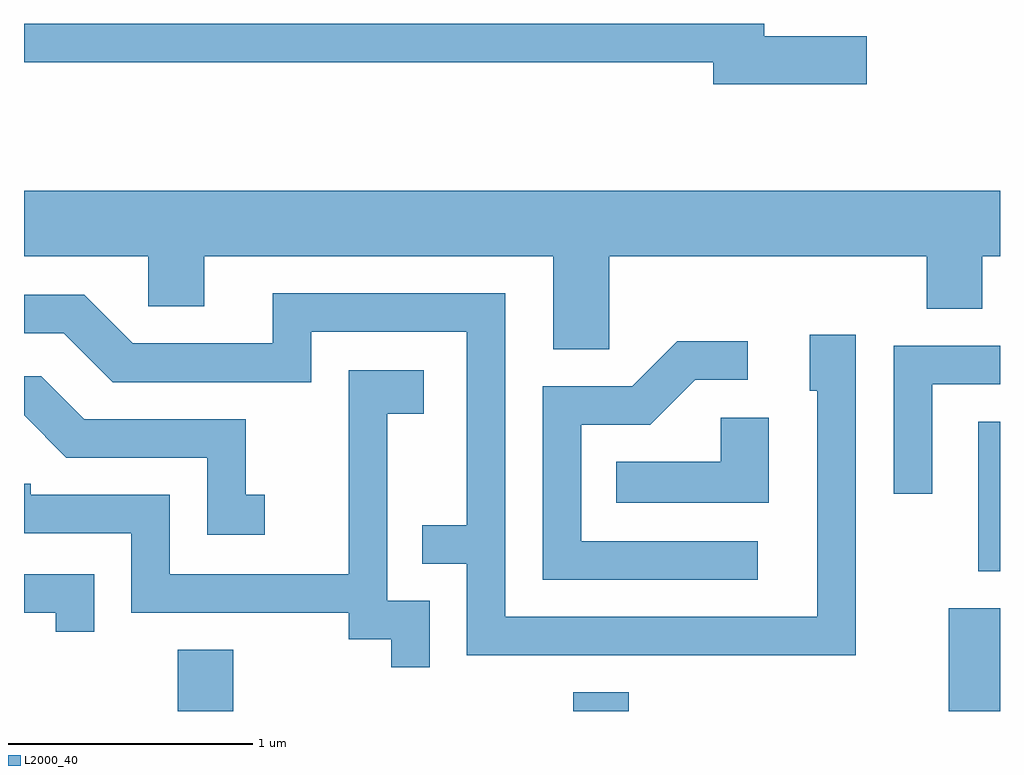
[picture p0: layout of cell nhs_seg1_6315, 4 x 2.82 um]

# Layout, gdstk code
import gdstk
lib = gdstk.Library(unit=1e-6, precision=1e-09)
def R(c, l, rs):  # rectangles x0, y0, x1, y1
    for r in rs: c.add(gdstk.rectangle(r[:2], r[2:], *l))
def P(c, l, *ps):  # polygons
    for p in ps: c.add(gdstk.Polygon(p, *l))
L2000_40 = (2000, 40)

nhs_seg1_6315 = lib.new_cell('nhs_seg1_6315')
R(nhs_seg1_6315, L2000_40, [(376.241,897.712,376.469,897.964), (377.861,897.712,378.089,897.789), (379.401,897.712,379.611,898.134), (379.521,898.286,379.611,898.899)])
P(nhs_seg1_6315, L2000_40, [(379.064,900.479),(378.644,900.479),(378.644,900.529),(375.611,900.529),(375.611,900.371),(378.436,900.371),(378.436,900.281),(379.064,900.281)],
  [(378.009,899.576),(379.311,899.576),(379.311,899.361),(379.539,899.361),(379.539,899.576),(379.611,899.576),(379.611,899.844),(375.611,899.844),(375.611,899.576),(376.121,899.576),(376.121,899.371),(376.349,899.371),(376.349,899.576),(377.781,899.576),(377.781,899.196),(378.009,899.196)],
  [(379.019,899.254),(378.831,899.254),(378.831,899.026),(378.861,899.026),(378.861,898.099),(377.584,898.099),(377.584,899.424),(376.631,899.424),(376.631,899.219),(376.057,899.219),(375.857,899.419),(375.611,899.419),(375.611,899.261),(375.774,899.261),(375.974,899.061),(376.789,899.061),(376.789,899.266),(377.426,899.266),(377.426,898.474),(377.243,898.474),(377.243,898.316),(377.426,898.316),(377.426,897.941),(379.019,897.941)],
  [(378.618,898.409),(377.894,898.409),(377.894,898.886),(378.177,898.886),(378.362,899.071),(378.578,899.071),(378.578,899.229),(378.289,899.229),(378.104,899.044),(377.736,899.044),(377.736,898.251),(378.618,898.251)],
  [(379.334,899.051),(379.611,899.051),(379.611,899.209),(379.176,899.209),(379.176,898.603),(379.334,898.603)],
  [(377.274,898.164),(377.099,898.164),(377.099,898.931),(377.249,898.931),(377.249,899.109),(376.941,899.109),(376.941,898.274),(376.209,898.274),(376.209,898.599),(375.639,898.599),(375.639,898.644),(375.611,898.644),(375.611,898.441),(376.051,898.441),(376.051,898.116),(376.941,898.116),(376.941,898.006),(377.116,898.006),(377.116,897.893),(377.274,897.893)],
  [(376.598,898.599),(376.519,898.599),(376.519,898.909),(375.857,898.909),(375.682,899.084),(375.611,899.084),(375.611,898.924),(375.784,898.751),(376.361,898.751),(376.361,898.436),(376.598,898.436)],
  [(378.664,898.914),(378.466,898.914),(378.466,898.734),(378.038,898.734),(378.038,898.566),(378.664,898.566)],
  [(375.899,898.274),(375.611,898.274),(375.611,898.116),(375.741,898.116),(375.741,898.038),(375.899,898.038)])

lib.write_gds('nhs_seg1_6315.gds')
